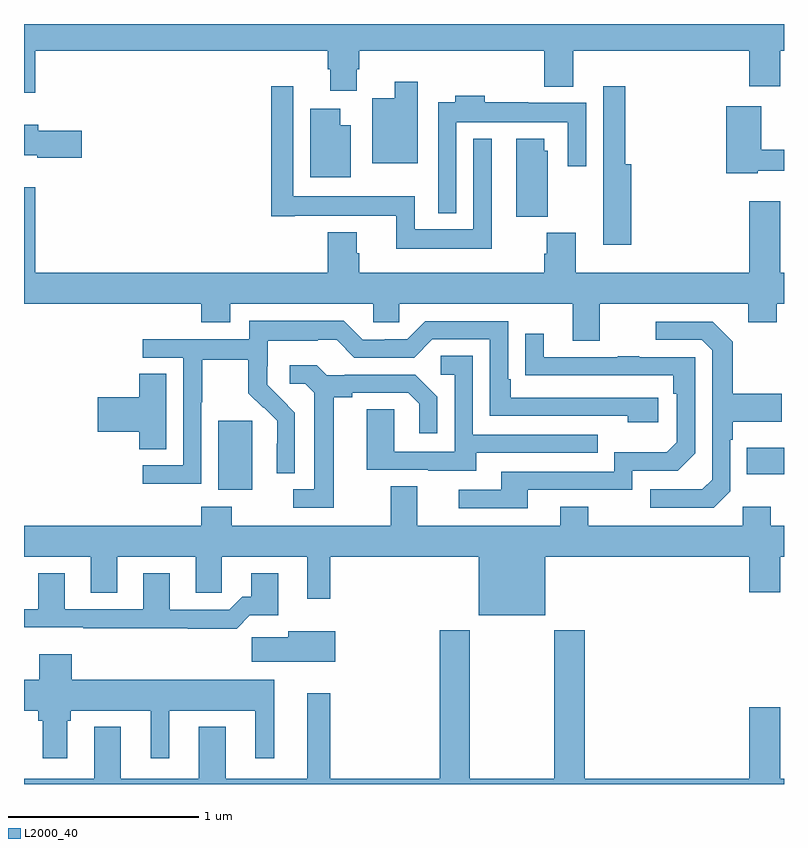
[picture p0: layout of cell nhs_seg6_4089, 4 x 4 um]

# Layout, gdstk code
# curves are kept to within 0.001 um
import gdstk
lib = gdstk.Library(unit=1e-6, precision=1e-09)
def R(c, l, rs):  # rectangles x0, y0, x1, y1
    for r in rs: c.add(gdstk.rectangle(r[:2], r[2:], *l))
def P(c, l, *ps):  # polygons
    for p in ps: c.add(gdstk.Polygon(p, *l))
L2000_40 = (2000, 40)

nhs_seg6_4089 = lib.new_cell('nhs_seg6_4089')
R(nhs_seg6_4089, L2000_40, [(354.023,921.05,354.202,921.411), (356.803,921.131,357,921.271)])
P(nhs_seg6_4089, L2000_40, [(353.059,923.36),(354.599,923.36),(354.599,923.262),(354.611,923.262),(354.611,923.148),(354.751,923.148),(354.751,923.262),(354.764,923.262),(354.764,923.36),(355.739,923.36),(355.739,923.171),(355.891,923.171),(355.891,923.36),(356.816,923.36),(356.816,923.172),(356.98,923.172),(356.98,923.36),(357,923.36),(357,923.5),(353,923.5),(353,923.139),(353.059,923.139)],
  [(355.072,923.197),(354.95,923.197),(354.95,923.11),(354.833,923.11),(354.833,922.766),(355.072,922.766)],
  [(356.195,922.762),(356.165,922.762),(356.165,923.173),(356.049,923.173),(356.049,922.658),(356.048,922.658),(356.048,922.338),(356.195,922.338)],
  [(355.462,922.897),(355.365,922.897),(355.365,922.42),(355.056,922.42),(355.056,922.594),(354.417,922.594),(354.417,923.173),(354.301,923.173),(354.301,922.488),(354.424,922.488),(354.424,922.49),(354.959,922.49),(354.959,922.316),(355.462,922.316)],
  [(355.275,922.982),(355.863,922.982),(355.863,922.752),(355.959,922.752),(355.959,923.086),(355.655,923.086),(355.655,923.089),(355.424,923.089),(355.424,923.122),(355.271,923.122),(355.271,923.089),(355.179,923.089),(355.179,922.505),(355.275,922.505)],
  [(356.862,922.727),(357,922.727),(357,922.837),(356.879,922.837),(356.879,923.068),(356.696,923.068),(356.696,922.715),(356.862,922.715)],
  [(354.721,922.966),(354.664,922.966),(354.664,923.053),(354.506,923.053),(354.506,922.694),(354.721,922.694)],
  [(353.305,922.938),(353.074,922.938),(353.074,922.969),(353,922.969),(353,922.808),(353.07,922.808),(353.07,922.796),(353.305,922.796)],
  [(355.756,922.833),(355.738,922.833),(355.738,922.897),(355.592,922.897),(355.592,922.486),(355.756,922.486)],
  [(356.029,922.028),(356.813,922.028),(356.813,921.929),(356.961,921.929),(356.961,922.028),(357,922.028),(357,922.192),(356.98,922.192),(356.98,922.567),(356.816,922.567),(356.816,922.192),(355.904,922.192),(355.904,922.401),(355.751,922.401),(355.751,922.292),(355.739,922.292),(355.739,922.192),(354.764,922.192),(354.764,922.293),(354.751,922.293),(354.751,922.405),(354.599,922.405),(354.599,922.192),(353.059,922.192),(353.059,922.642),(353,922.642),(353,922.028),(353.933,922.028),(353.933,921.929),(354.085,921.929),(354.085,922.028),(354.837,922.028),(354.837,921.93),(354.975,921.93),(354.975,922.028),(355.889,922.028),(355.889,921.834),(356.029,921.834)],
  [(353.934,921.508),(353.937,921.508),(353.937,921.732),(354.181,921.732),(354.181,921.557),(354.258,921.48),(354.261,921.483),(354.332,921.413),(354.332,921.29),(354.33,921.29),(354.33,921.136),(354.426,921.136),(354.426,921.454),(354.28,921.602),(354.28,921.699),(354.282,921.699),(354.282,921.833),(354.545,921.833),(354.545,921.837),(354.645,921.837),(354.738,921.744),(355.053,921.744),(355.149,921.84),(355.452,921.84),(355.452,921.438),(356.177,921.438),(356.177,921.404),(356.338,921.404),(356.338,921.534),(355.561,921.534),(355.561,921.631),(355.548,921.631),(355.548,921.936),(355.113,921.936),(355.017,921.84),(354.899,921.84),(354.899,921.837),(354.783,921.837),(354.683,921.937),(354.186,921.937),(354.186,921.84),(353.625,921.84),(353.625,921.744),(353.838,921.744),(353.838,921.177),(353.625,921.177),(353.625,921.079),(353.934,921.079)],
  [(356.718,921.042),(356.718,921.311),(356.731,921.311),(356.731,921.407),(356.987,921.407),(356.987,921.555),(356.731,921.555),(356.731,921.827),(356.625,921.933),(356.325,921.933),(356.325,921.837),(356.568,921.837),(356.622,921.783),(356.622,921.102),(356.571,921.051),(356.295,921.051),(356.295,920.955),(356.631,920.955)],
  [(355.651,921.048),(356.202,921.048),(356.202,921.15),(356.442,921.15),(356.532,921.24),(356.532,921.747),(356.237,921.747),(356.237,921.752),(356.125,921.752),(356.125,921.747),(355.735,921.747),(355.735,921.871),(355.639,921.871),(355.639,921.652),(356.416,921.651),(356.416,921.554),(356.436,921.554),(356.436,921.3),(356.383,921.247),(356.106,921.247),(356.106,921.144),(355.511,921.144),(355.511,921.048),(355.287,921.048),(355.287,920.952),(355.651,920.952)],
  [(355.381,921.243),(356.021,921.243),(356.021,921.339),(355.362,921.339),(355.362,921.755),(355.194,921.755),(355.194,921.654),(355.266,921.654),(355.266,921.249),(354.948,921.249),(354.948,921.473),(354.803,921.473),(354.803,921.153),(355.127,921.153),(355.127,921.149),(355.381,921.149)],
  [(354.631,921.536),(354.727,921.536),(354.727,921.558),(355.022,921.558),(355.079,921.501),(355.079,921.345),(355.176,921.345),(355.176,921.538),(355.06,921.654),(354.688,921.654),(354.688,921.651),(354.594,921.651),(354.542,921.703),(354.399,921.703),(354.399,921.606),(354.48,921.606),(354.527,921.559),(354.527,921.051),(354.417,921.051),(354.417,920.955),(354.631,920.955)],
  [(353.749,921.659),(353.606,921.659),(353.606,921.536),(353.388,921.536),(353.388,921.353),(353.606,921.353),(353.606,921.262),(353.749,921.262)],
  [(355.744,920.696),(356.816,920.696),(356.816,920.508),(356.98,920.508),(356.98,920.696),(357,920.696),(357,920.86),(356.931,920.86),(356.931,920.959),(356.784,920.959),(356.784,920.86),(355.971,920.86),(355.971,920.959),(355.823,920.959),(355.823,920.86),(355.069,920.86),(355.069,921.068),(354.929,921.068),(354.929,920.86),(354.093,920.86),(354.093,920.959),(353.933,920.959),(353.933,920.86),(353,920.86),(353,920.696),(353.351,920.696),(353.351,920.506),(353.491,920.506),(353.491,920.696),(353.903,920.696),(353.903,920.506),(354.042,920.506),(354.042,920.696),(354.491,920.696),(354.491,920.475),(354.613,920.475),(354.613,920.696),(355.394,920.696),(355.394,920.387),(355.744,920.387)],
  [(354.188,920.387),(354.337,920.387),(354.337,920.608),(354.197,920.608),(354.197,920.485),(354.148,920.485),(354.081,920.418),(353.767,920.418),(353.767,920.608),(353.627,920.608),(353.627,920.421),(353.215,920.421),(353.215,920.608),(353.075,920.608),(353.075,920.421),(353,920.421),(353,920.324),(353.311,920.324),(353.311,920.32),(353.863,920.32),(353.863,920.318),(354.119,920.318)],
  [(357,919.528),(356.98,919.528),(356.98,919.903),(356.816,919.903),(356.816,919.528),(355.952,919.528),(355.952,920.308),(355.792,920.308),(355.792,919.528),(355.347,919.528),(355.347,920.308),(355.187,920.308),(355.187,919.528),(354.613,919.528),(354.613,919.978),(354.491,919.978),(354.491,919.528),(354.061,919.528),(354.061,919.801),(353.921,919.801),(353.921,919.528),(353.509,919.528),(353.509,919.801),(353.369,919.801),(353.369,919.528),(353,919.528),(353,919.5),(357,919.5)],
  [(354.637,920.305),(354.392,920.305),(354.392,920.273),(354.198,920.273),(354.198,920.144),(354.637,920.144)],
  [(353.227,919.833),(353.247,919.833),(353.247,919.886),(353.666,919.886),(353.666,919.635),(353.764,919.635),(353.764,919.886),(354.218,919.886),(354.218,919.635),(354.316,919.635),(354.316,920.05),(353.252,920.05),(353.252,920.182),(353.081,920.182),(353.081,920.05),(353,920.05),(353,919.886),(353.074,919.886),(353.074,919.833),(353.099,919.833),(353.099,919.635),(353.227,919.635)])

lib.write_gds('nhs_seg6_4089.gds')
